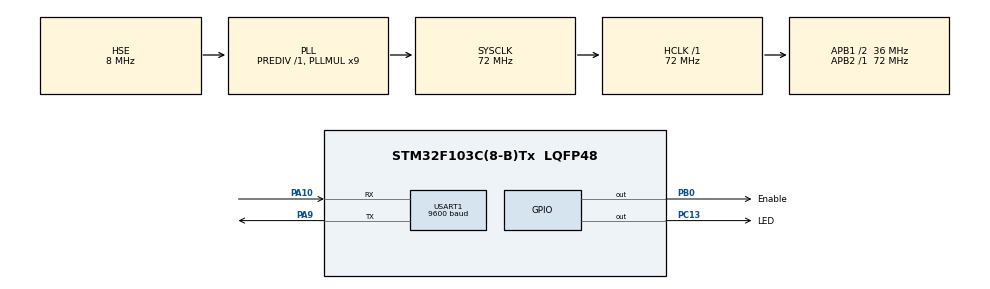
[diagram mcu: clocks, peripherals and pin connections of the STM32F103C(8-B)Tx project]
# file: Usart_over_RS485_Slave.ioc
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Mcu.Family=STM32F1
Mcu.Name=STM32F103C(8-B)Tx
Mcu.Package=LQFP48
NVIC.PriorityGroup=NVIC_PRIORITYGROUP_4
NVIC.TIM4_IRQn=true\:15\:0\:false\:false\:true\:false\:true
NVIC.TimeBase=TIM4_IRQn
NVIC.TimeBaseIP=TIM4
NVIC.USART1_IRQn=true\:0\:0\:false\:false\:true\:true\:true
PA10.Mode=Asynchronous
PA10.Signal=USART1_RX
PA13.Mode=Serial_Wire
PA13.Signal=SYS_JTMS-SWDIO
PA14.Mode=Serial_Wire
PA14.Signal=SYS_JTCK-SWCLK
PA9.Mode=Asynchronous
PA9.Signal=USART1_TX
PB0.GPIO_Label=Enable
PB0.Signal=GPIO_Output
PC13-TAMPER-RTC.GPIO_Label=LED
PC13-TAMPER-RTC.Signal=GPIO_Output
PD0-OSC_IN.Mode=HSE-External-Oscillator
PD0-OSC_IN.Signal=RCC_OSC_IN
PD1-OSC_OUT.Mode=HSE-External-Oscillator
PD1-OSC_OUT.Signal=RCC_OSC_OUT
ProjectManager.HeapSize=0x200
ProjectManager.StackSize=0x400
ProjectManager.TargetToolchain=STM32CubeIDE
RCC.AHBFreq_Value=72000000
RCC.APB1CLKDivider=RCC_HCLK_DIV2
RCC.APB1Freq_Value=36000000
RCC.APB1TimFreq_Value=72000000
RCC.APB2Freq_Value=72000000
RCC.APB2TimFreq_Value=72000000
RCC.HCLKFreq_Value=72000000
RCC.PLLMUL=RCC_PLL_MUL9
RCC.PLLSourceVirtual=RCC_PLLSOURCE_HSE
RCC.SYSCLKFreq_VALUE=72000000
RCC.SYSCLKSource=RCC_SYSCLKSOURCE_PLLCLK
RCC.USBFreq_Value=72000000
USART1.BaudRate=9600
USART1.VirtualMode=VM_ASYNC
VP_SYS_VS_tim4.Mode=TIM4
board=custom

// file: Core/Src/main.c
/* USER CODE BEGIN Header */
/**
  ******************************************************************************
  * @file           : main.c
  * @brief          : Main program body
  ******************************************************************************
  * @attention
  *
  * Copyright (c) 2021 STMicroelectronics.
  * All rights reserved.
  *
  * This software is licensed under terms that can be found in the LICENSE file
  * in the root directory of this software component.
  * If no LICENSE file comes with this software, it is provided AS-IS.
  *
  ******************************************************************************
  */
/* USER CODE END Header */
#include "main.h"

/* USER CODE BEGIN Includes */
#include <stdio.h> /* для printf */
#define rx_buffer_size 64 // Размер буфера для входных данных, установи нужное значение!
uint8_t rx_buffer[rx_buffer_size] = { 0, }; // Буфер для входных данных.
uint16_t rx_buffer_len; // Переменная для разных длинн данных.
/* USER CODE END Includes */

UART_HandleTypeDef huart1;

void SystemClock_Config(void);
static void MX_GPIO_Init(void);
static void MX_USART1_UART_Init(void);

int main(void)
{

  /* MCU Configuration--------------------------------------------------------*/

  /* Reset of all peripherals, Initializes the Flash interface and the Systick. */
  HAL_Init();

  /* Configure the system clock */
  SystemClock_Config();

  /* Initialize all configured peripherals */
  MX_GPIO_Init();
  MX_USART1_UART_Init();
  /* USER CODE BEGIN 2 */
  HAL_GPIO_WritePin(LED_GPIO_Port, LED_Pin, GPIO_PIN_SET); // По дефолту откоючаем LED
  HAL_GPIO_WritePin(Enable_GPIO_Port, Enable_Pin, GPIO_PIN_RESET); // Always LOW as Slave receive value from Master
  printf("Aplication is runing! \n\r");

	__HAL_UART_ENABLE_IT(&huart1, UART_IT_IDLE); // Флаг IDLE
	HAL_UART_Receive_IT(&huart1, rx_buffer, rx_buffer_size); // Запуск према данных
  /* USER CODE END 2 */

  /* Infinite loop */
  while (1)
  {

	}
}

void SystemClock_Config(void)
{
  RCC_OscInitTypeDef RCC_OscInitStruct = {0};
  RCC_ClkInitTypeDef RCC_ClkInitStruct = {0};

  /** Initializes the RCC Oscillators according to the specified parameters
  * in the RCC_OscInitTypeDef structure.
  */
  RCC_OscInitStruct.OscillatorType = RCC_OSCILLATORTYPE_HSE;
  RCC_OscInitStruct.HSEState = RCC_HSE_ON;
  RCC_OscInitStruct.HSEPredivValue = RCC_HSE_PREDIV_DIV1;
  RCC_OscInitStruct.HSIState = RCC_HSI_ON;
  RCC_OscInitStruct.PLL.PLLState = RCC_PLL_ON;
  RCC_OscInitStruct.PLL.PLLSource = RCC_PLLSOURCE_HSE;
  RCC_OscInitStruct.PLL.PLLMUL = RCC_PLL_MUL9;
  if (HAL_RCC_OscConfig(&RCC_OscInitStruct) != HAL_OK)
  {
    Error_Handler();
  }
  /** Initializes the CPU, AHB and APB buses clocks
  */
  RCC_ClkInitStruct.ClockType = RCC_CLOCKTYPE_HCLK|RCC_CLOCKTYPE_SYSCLK
                              |RCC_CLOCKTYPE_PCLK1|RCC_CLOCKTYPE_PCLK2;
  RCC_ClkInitStruct.SYSCLKSource = RCC_SYSCLKSOURCE_PLLCLK;
  RCC_ClkInitStruct.AHBCLKDivider = RCC_SYSCLK_DIV1;
  RCC_ClkInitStruct.APB1CLKDivider = RCC_HCLK_DIV2;
  RCC_ClkInitStruct.APB2CLKDivider = RCC_HCLK_DIV1;

  if (HAL_RCC_ClockConfig(&RCC_ClkInitStruct, FLASH_LATENCY_2) != HAL_OK)
  {
    Error_Handler();
  }
}

static void MX_USART1_UART_Init(void)
{

  huart1.Instance = USART1;
  huart1.Init.BaudRate = 9600;
  huart1.Init.WordLength = UART_WORDLENGTH_8B;
  huart1.Init.StopBits = UART_STOPBITS_1;
  huart1.Init.Parity = UART_PARITY_NONE;
  huart1.Init.Mode = UART_MODE_TX_RX;
  huart1.Init.HwFlowCtl = UART_HWCONTROL_NONE;
  huart1.Init.OverSampling = UART_OVERSAMPLING_16;
  if (HAL_UART_Init(&huart1) != HAL_OK)
  {
    Error_Handler();
  }

}

static void MX_GPIO_Init(void)
{
  GPIO_InitTypeDef GPIO_InitStruct = {0};

  /* GPIO Ports Clock Enable */
  __HAL_RCC_GPIOC_CLK_ENABLE();
  __HAL_RCC_GPIOD_CLK_ENABLE();
  __HAL_RCC_GPIOB_CLK_ENABLE();
  __HAL_RCC_GPIOA_CLK_ENABLE();

  /*Configure GPIO pin Output Level */
  HAL_GPIO_WritePin(LED_GPIO_Port, LED_Pin, GPIO_PIN_RESET);

  /*Configure GPIO pin Output Level */
  HAL_GPIO_WritePin(Enable_GPIO_Port, Enable_Pin, GPIO_PIN_RESET);

  /*Configure GPIO pin : LED_Pin */
  GPIO_InitStruct.Pin = LED_Pin;
  GPIO_InitStruct.Mode = GPIO_MODE_OUTPUT_PP;
  GPIO_InitStruct.Pull = GPIO_NOPULL;
  GPIO_InitStruct.Speed = GPIO_SPEED_FREQ_LOW;
  HAL_GPIO_Init(LED_GPIO_Port, &GPIO_InitStruct);

  /*Configure GPIO pin : Enable_Pin */
  GPIO_InitStruct.Pin = Enable_Pin;
  GPIO_InitStruct.Mode = GPIO_MODE_OUTPUT_PP;
  GPIO_InitStruct.Pull = GPIO_NOPULL;
  GPIO_InitStruct.Speed = GPIO_SPEED_FREQ_LOW;
  HAL_GPIO_Init(Enable_GPIO_Port, &GPIO_InitStruct);

}

/* USER CODE BEGIN 4 */
/*------------------------Callback для флага IDLE---------------------------------------*/
void HAL_UART_IDLE_Callback(UART_HandleTypeDef *huart) { // Эта функция отслеживает окончание передачи!
	if (huart == &huart1) { //проверка, из нужного ли uart пришли данные
		printf("IDLE = OK\n\r");
		__HAL_UART_DISABLE_IT(&huart1, UART_IT_IDLE); // Что бы писало один раз "IDLE = OK"
		rx_buffer_len = rx_buffer_size - huart->RxXferCount;

		/*----------Действия с входящими данными, что получили то и отправляем!-----------*/
		if (huart1.gState != HAL_UART_STATE_BUSY_TX) {
			HAL_UART_Transmit_IT(&huart1, rx_buffer, rx_buffer_len);
			if (*rx_buffer == '7') { // Если прилитела 7-ка то...
				HAL_GPIO_WritePin(LED_GPIO_Port, LED_Pin, GPIO_PIN_RESET);
			} else if (*rx_buffer == '8') { // Если прилитела 8-ка то...
				HAL_GPIO_WritePin(LED_GPIO_Port, LED_Pin, GPIO_PIN_SET);
			}
		} else {
		}
		/*----------основные действия с входящими данными-----------*/
		HAL_UART_AbortReceive_IT(&huart1);      // Без этих 2-х строк,
		__HAL_UART_CLEAR_IDLEFLAG(&huart1); // работать будет только один раз!

		__HAL_UART_ENABLE_IT(&huart1, UART_IT_IDLE);
		HAL_UART_Receive_IT(&huart1, rx_buffer, rx_buffer_size);
	}
}

/*------------------------UART RxCpltCallback---------------------------------------*/
void HAL_UART_RxCpltCallback(UART_HandleTypeDef *huart) {
	if (huart == &huart1) { //проверка, из нужного ли uart пришли данные
		printf("RxCpltCallback = OK\n\r");
		__HAL_UART_DISABLE_IT(&huart1, UART_IT_IDLE);

		printf("rx_buffer is overflow! \n\r"); // Если объем данных превышает размер буфера для входных данных будет сообщение!

		HAL_UART_AbortReceive_IT(&huart1); // Нужно, что бы не суммировало сообщения! Без этих 3-х строк,
		__HAL_UART_CLEAR_IDLEFLAG(&huart1); // работать будет только один раз!
		__HAL_UART_ENABLE_IT(&huart1, UART_IT_IDLE); // Сбрасываем флаг IDLE

		HAL_UART_Receive_IT(&huart1, rx_buffer, rx_buffer_size);// Снова в режим приёма.
	}
}
/*------------------------RxCpltCallback---------------------------------------*/
/* USER CODE END 4 */

void HAL_TIM_PeriodElapsedCallback(TIM_HandleTypeDef *htim)
{
  if (htim->Instance == TIM4) {
    HAL_IncTick();
  }
}

void Error_Handler(void)
{
  __disable_irq();
  while (1)
  {
  }
}
